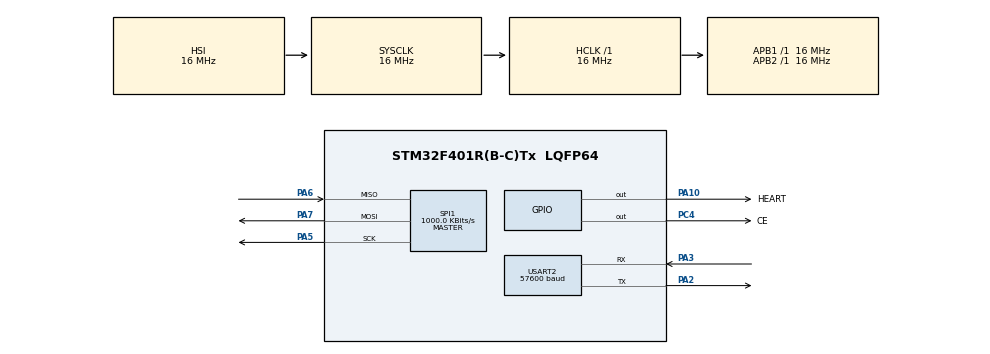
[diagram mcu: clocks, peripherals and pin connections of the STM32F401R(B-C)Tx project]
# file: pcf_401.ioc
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Mcu.Family=STM32F4
Mcu.Name=STM32F401R(B-C)Tx
Mcu.Package=LQFP64
NVIC.PriorityGroup=NVIC_PRIORITYGROUP_4
PA10.GPIO_Label=HEART
PA10.Signal=GPIO_Output
PA13.Mode=Serial_Wire
PA13.Signal=SYS_JTMS-SWDIO
PA14.Mode=Serial_Wire
PA14.Signal=SYS_JTCK-SWCLK
PA2.Mode=Asynchronous
PA2.Signal=USART2_TX
PA3.Mode=Asynchronous
PA3.Signal=USART2_RX
PA5.Mode=Full_Duplex_Master
PA5.Signal=SPI1_SCK
PA6.Mode=Full_Duplex_Master
PA6.Signal=SPI1_MISO
PA7.Mode=Full_Duplex_Master
PA7.Signal=SPI1_MOSI
PC4.GPIO_Label=CE
PC4.Signal=GPIO_Output
ProjectManager.HeapSize=0x200
ProjectManager.StackSize=0x400
ProjectManager.TargetToolchain=TrueSTUDIO
RCC.AHBFreq_Value=16000000
RCC.APB1Freq_Value=16000000
RCC.APB2Freq_Value=16000000
RCC.CortexFreq_Value=16000000
RCC.HSE_VALUE=25000000
RCC.HSI_VALUE=16000000
RCC.LSE_VALUE=32768
RCC.SYSCLKFreq_VALUE=16000000
RCC.VCOOutputFreq_Value=192000000
SPI1.BaudRatePrescaler=SPI_BAUDRATEPRESCALER_16
SPI1.CalculateBaudRate=1000.0 KBits/s
SPI1.Direction=SPI_DIRECTION_2LINES
SPI1.Mode=SPI_MODE_MASTER
SPI1.VirtualType=VM_MASTER
USART2.BaudRate=57600
USART2.VirtualMode=VM_ASYNC
board=custom

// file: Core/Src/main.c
/* USER CODE BEGIN Header */
/**
  ******************************************************************************
  * @file           : main.c
  * @brief          : Main program body
  ******************************************************************************
  * @attention
  *
  * <h2><center>&copy; Copyright (c) 2020 STMicroelectronics.
  * All rights reserved.</center></h2>
  *
  * This software component is licensed by ST under BSD 3-Clause license,
  * the "License"; You may not use this file except in compliance with the
  * License. You may obtain a copy of the License at:
  *                        opensource.org/licenses/BSD-3-Clause
  *
  ******************************************************************************
  */
/* USER CODE END Header */
#include "main.h"
#include "spi.h"
#include "usart.h"
#include "gpio.h"

/* USER CODE BEGIN Includes */
#include <stdbool.h>

#include "DBG.h"

#include "PCF2123.h"
/* USER CODE END Includes */

void SystemClock_Config(void);
/* USER CODE BEGIN PFP */
pcf2123_error_t my_spi_xfer(uint8_t *write, uint8_t *read, size_t xfer_len, uint32_t timeout_ms);
void my_control_ce(pcf2123_ce_t ce_state);
/* USER CODE END PFP */

/* USER CODE BEGIN 0 */
pcf2123_t my_pcf;

volatile bool pcf_alarm = false;
/* USER CODE END 0 */

int main(void)
{

  /* MCU Configuration--------------------------------------------------------*/

  /* Reset of all peripherals, Initializes the Flash interface and the Systick. */
  HAL_Init();

  /* Configure the system clock */
  SystemClock_Config();

  /* Initialize all configured peripherals */
  MX_GPIO_Init();
  MX_SPI1_Init();
  MX_USART2_UART_Init();
  /* USER CODE BEGIN 2 */

  DBG_init(&huart2);
  DBG_println("PCF2123 demo project");

  /* Wait for Oscilator to become stable */
  HAL_Delay(1000 * 2);

  /* Register HAL callbacks */
  PCF2123_init(&my_pcf, my_spi_xfer, my_control_ce);

  PCF2123_sw_reset(&my_pcf);

  /* Wait for Oscilator to become stable */
  HAL_Delay(1000 * 2);

  uint8_t control_1 = 0xff;
  uint8_t control_2 = 0xff;
  uint8_t osc_status = 0xff;

  PCF2123_read_register(&my_pcf, PCF2123_REG_CONTROL_1,
	&control_1, 1);
  PCF2123_read_register(&my_pcf, PCF2123_REG_CONTROL_2,
	&control_2, 1);
  PCF2123_read_register(&my_pcf, PCF2123_REG_SECONDS,
  	&osc_status, 1);

  DBG_println("C1: %x, C2: %x", control_1, control_2);
  DBG_println("Osc sts: %x", osc_status);

  if (PCF2123_AF_INT_GENERATED & control_2) {
	  control_2 &= ~(PCF2123_AF_INT_GENERATED);
	  DBG_println("C2: %x", control_2);
	  PCF2123_write_register(&my_pcf, PCF2123_REG_CONTROL_2,
		&control_2, 1);

	  PCF2123_read_register(&my_pcf, PCF2123_REG_CONTROL_2,
		&control_2, 1);

	  DBG_println("C2: %x", control_2);
  }

  if (PCF2123_OS_INTEGRITY_NOT_GUARANTEED & osc_status) {
	  osc_status &= ~(PCF2123_OS_INTEGRITY_NOT_GUARANTEED);
	  DBG_println("Osc sts: %x", osc_status);
	  PCF2123_write_register(&my_pcf, PCF2123_REG_SECONDS,
		&osc_status, 1);
  }

  osc_status = 0xff;
  PCF2123_read_register(&my_pcf, PCF2123_REG_SECONDS,
  	&osc_status, 1);

  /* Setting TI_TP to 1 */
  DBG_println("Setting TI_TP");
  PCF2123_read_register(&my_pcf, PCF2123_REG_CONTROL_2,
	&control_2, 1);
  DBG_println("C2: %x", control_2);
  control_2 |= PCF2123_TI_TP_INT_PIN_GENERATES_PULSE;
  DBG_println("C2: %x", control_2);
  PCF2123_write_register(&my_pcf, PCF2123_REG_CONTROL_2,
	&control_2, 1);

  DBG_println("Osc sts: %x", osc_status);

  pcf2123_time_t time = {
		  .sec = 56,
		  .min = 10,
		  .hour = 0
  };

  pcf2123_date_t date = {
		  .day = 17,
		  .weekday = PCF2123_WEEKDAY_SUNDAY,
		  .month = PCF2123_MONTH_OCTOBER,
		  .year = 20
  };

  PCF2123_set_rtcc_data(&my_pcf, &time, &date);

  pcf2123_alarm_conf_t alarm = {
		  .alarm_enable = PCF2123_ALARM_MIN_ENABLE,
		  .min = 11,
  };

  PCF2123_set_alarm_interrupt(&my_pcf, &alarm);

  /* USER CODE END 2 */

  /* Infinite loop */
  /* USER CODE BEGIN WHILE */
  while (1)
  {
	  HAL_GPIO_TogglePin(HEART_GPIO_Port, HEART_Pin);

	  uint8_t flags = PCF2123_get_interrupt_flags(&my_pcf);

	  /* AF */
	  if (PCF2123_AF_INT_GENERATED & flags) {
		  PCF2123_clear_af(&my_pcf);
	  }

	  /* TF */
	  if (PCF2123_TF_INTERRUPT_GENERTED & flags) {
		  PCF2123_clear_tf(&my_pcf);
	  }

	  pcf2123_time_t current_time;
	  pcf2123_date_t current_date;

	  PCF2123_get_rtcc_data(&my_pcf, &current_time, &current_date);

	  DBG_println("Hour: %d, Min: %d, Sec: %d",
			  current_time.hour, current_time.min, current_time.sec);
	  DBG_println("Day: %d, Weekday: %d, month: %d, year: %d",
			  current_date.day, current_date.weekday, current_date.month, current_date.year);

	  HAL_Delay(1000);
    /* USER CODE END WHILE */

  }
}

void SystemClock_Config(void)
{
  RCC_OscInitTypeDef RCC_OscInitStruct = {0};
  RCC_ClkInitTypeDef RCC_ClkInitStruct = {0};

  /** Configure the main internal regulator output voltage
  */
  __HAL_RCC_PWR_CLK_ENABLE();
  __HAL_PWR_VOLTAGESCALING_CONFIG(PWR_REGULATOR_VOLTAGE_SCALE2);
  /** Initializes the RCC Oscillators according to the specified parameters
  * in the RCC_OscInitTypeDef structure.
  */
  RCC_OscInitStruct.OscillatorType = RCC_OSCILLATORTYPE_HSI;
  RCC_OscInitStruct.HSIState = RCC_HSI_ON;
  RCC_OscInitStruct.HSICalibrationValue = RCC_HSICALIBRATION_DEFAULT;
  RCC_OscInitStruct.PLL.PLLState = RCC_PLL_NONE;
  if (HAL_RCC_OscConfig(&RCC_OscInitStruct) != HAL_OK)
  {
    Error_Handler();
  }
  /** Initializes the CPU, AHB and APB buses clocks
  */
  RCC_ClkInitStruct.ClockType = RCC_CLOCKTYPE_HCLK|RCC_CLOCKTYPE_SYSCLK
                              |RCC_CLOCKTYPE_PCLK1|RCC_CLOCKTYPE_PCLK2;
  RCC_ClkInitStruct.SYSCLKSource = RCC_SYSCLKSOURCE_HSI;
  RCC_ClkInitStruct.AHBCLKDivider = RCC_SYSCLK_DIV1;
  RCC_ClkInitStruct.APB1CLKDivider = RCC_HCLK_DIV1;
  RCC_ClkInitStruct.APB2CLKDivider = RCC_HCLK_DIV1;

  if (HAL_RCC_ClockConfig(&RCC_ClkInitStruct, FLASH_LATENCY_0) != HAL_OK)
  {
    Error_Handler();
  }
}

/* USER CODE BEGIN 4 */
#if 0
void HAL_GPIO_EXTI_Callback(uint16_t GPIO_Pin)
{
	DBG_println("a");

	if (INT_Pin == GPIO_Pin) {
		DBG_println("here!");
		pcf_alarm = true;
	}
}
#endif

void PCF2123_on_assertion(void)
{

}

pcf2123_error_t my_spi_xfer(uint8_t *write, uint8_t *read, size_t xfer_len, uint32_t timeout_ms)
{
	PCF2123_ASSERT(write);
	PCF2123_ASSERT(read);

	pcf2123_error_t retval;
	HAL_StatusTypeDef xfer_sts;

	HAL_GPIO_WritePin(HEART_GPIO_Port, HEART_Pin, GPIO_PIN_RESET);
	xfer_sts = HAL_SPI_TransmitReceive(&hspi1, write, read, xfer_len, timeout_ms);
	HAL_GPIO_WritePin(HEART_GPIO_Port, HEART_Pin, GPIO_PIN_SET);

	if (HAL_TIMEOUT == xfer_sts) {
		retval = PCF2123_ETIMEOUT;
	} else if (HAL_OK == xfer_sts) {
		retval = PCF2123_ENONE;
	}

	return retval;
}

void my_control_ce(pcf2123_ce_t ce_state)
{
	if (PCF2123_CE_ENABLE == ce_state) {
		HAL_GPIO_WritePin(CE_GPIO_Port, CE_Pin, GPIO_PIN_SET);
	} else if (PCF2123_CE_DISABLE == ce_state) {
		HAL_GPIO_WritePin(CE_GPIO_Port, CE_Pin, GPIO_PIN_RESET);
	} else {
		/* NOTE: You should never reach this point */
		PCF2123_ASSERT(0);
	}
}
/* USER CODE END 4 */

void Error_Handler(void)
{
}

/************************ (C) COPYRIGHT STMicroelectronics *****END OF FILE****/
